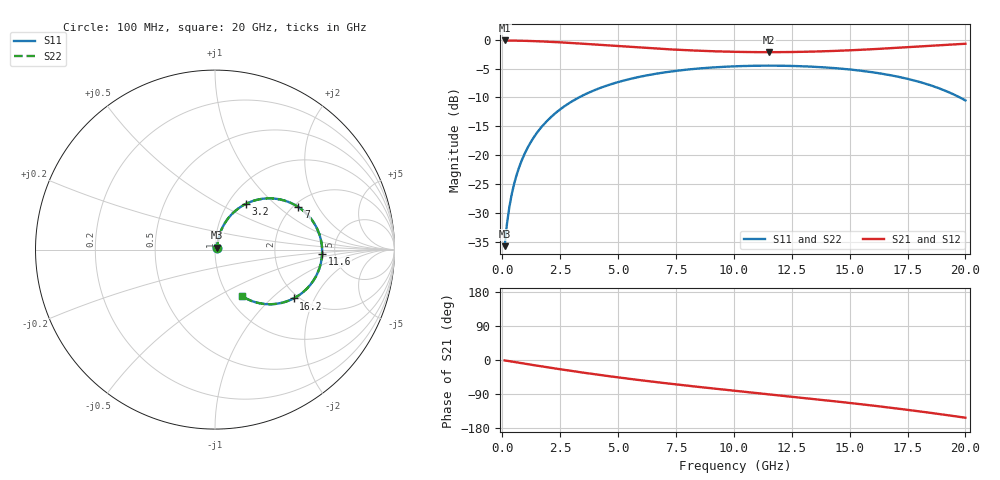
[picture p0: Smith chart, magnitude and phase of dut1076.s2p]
! Touchstone file exported from HFSS 2026.1.0
!  File:  C:/ffzhzh/LocalFiles/Ansys_Project_Files/temp_train_TSV_RDL_1076_1783300087_38820.aedt
!  Generated:  09:17:55 AM Jul  6, 2026
!  Design:  TSV_RDL
!  Project:  temp_train_TSV_RDL_1076_1783300087_38820
! Variables:
!  h_bsmrdl = 3.51um
!  h_ox = 20um
!  h_rdl = 5um
!  h_sub = 58.71um
!  h_tmrdl = 5.67um
!  h_tsv = 58.71um
!  h_via = 3um
!  l_bsmrdl = 216.38um
!  l_sub = 2818.27um
!  l_tmrdl = 411.18um
!  m_sub = 200um
!  pitch = 57.59um
!  r_tsv = 4.45um
!  s_tmrdl = 10um
!  w_bsmrdl = 14.09um
!  w_sub = 500um
!  w_tmrdl = 27.38um
!  x_tsv_center1 = 424.87um
!  x_tsv_center2 = 655.34um
!  x_tsv_center3 = 1093.9um
!  x_tsv_center4 = 1324.37um
!  x_tsv_center5 = 1762.93um
!  x_tsv_center6 = 1993.4um
# GHz S MA R 50.000000
! Terminal data exported
! Port[1] = TM_RDL1_1_T1
! Port[2] = TM_RDL5_1_T1
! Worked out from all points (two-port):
!   200 points, 100 MHz to 20 GHz, reference 50 ohm
!   highest |S21| = -0.10 dB at 100 MHz (marker M1); lowest = -2.1 dB at 11.5 GHz (marker M2)
!   |S21| within 3 dB of the highest: start of sweep to end of sweep
!   lowest |S11| = -35.8 dB at 100 MHz (marker M3), VSWR 1.03, Z = 51.2 + j1.12 ohm
!   |S11| at or under -10 dB: start of sweep to 3.307 GHz; 19.76 GHz to end of sweep
!   |S22| runs from -35.8 to -4.5 dB; largest |S21 - S12| = 3.6e-14
!   S11 on the Smith chart (normalised r, x): 100 MHz: 1.02, +0.02; 3.2 GHz: 1.21, +0.68; 7 GHz: 2.13, +1.38; 11.6 GHz: 3.94, -0.30; 16.2 GHz: 1.88, -1.40; 20 GHz: 1.15, -0.65
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0.1  0.0162 42.6  0.9882 -1.0  0.9882 -1.0  0.0162 42.6
! Gamma 0 0 0 0
! Port Impedance 50 0 50 0
0.2  0.02513 59.0  0.9876 -2.1  0.9876 -2.1  0.02513 59.0
0.3  0.0349 66.0  0.987 -3.1  0.987 -3.1  0.0349 66.0
0.4  0.04494 69.5  0.9863 -4.1  0.9863 -4.1  0.04494 69.5
0.7  0.0756 72.9  0.984 -7.0  0.984 -7.0  0.0756 72.9
1  0.1063 72.6  0.9807 -10.0  0.9807 -10.0  0.1063 72.6
1.4  0.1465 70.4  0.9748 -13.9  0.9748 -13.9  0.1465 70.4
1.9  0.1949 66.7  0.9654 -18.8  0.9654 -18.8  0.1949 66.7
3.2  0.3078 55.9  0.9335 -30.7  0.9335 -30.7  0.3078 55.9
3.5  0.331 53.4  0.9252 -33.4  0.9252 -33.4  0.331 53.4
5.1  0.4356 40.7  0.8799 -46.7  0.8799 -46.7  0.4356 40.7
6.8  0.5143 28.4  0.8368 -59.4  0.8368 -59.4  0.5143 28.4
7  0.5216 27.0  0.8324 -60.9  0.8324 -60.9  0.5216 27.0
8.6  0.5667 16.4  0.8033 -71.8  0.8033 -71.8  0.5667 16.4
10.1  0.5901 6.9  0.787 -81.6  0.787 -81.6  0.5901 6.9
11.5  0.5972 -1.7  0.782 -90.5  0.782 -90.5  0.5972 -1.7
11.6  0.5972 -2.4  0.782 -91.1  0.782 -91.1  0.5972 -2.4
13.4  0.5848 -13.5  0.7908 -102.6  0.7908 -102.6  0.5848 -13.5
16.2  0.5157 -31.8  0.8342 -121.7  0.8342 -121.7  0.5157 -31.8
16.7  0.4959 -35.3  0.8452 -125.4  0.8452 -125.4  0.496 -35.3
18.4  0.4091 -47.8  0.8864 -138.7  0.8864 -138.7  0.4091 -47.8
20  0.2979 -60.0  0.9252 -152.4  0.9252 -152.4  0.2979 -60.0
